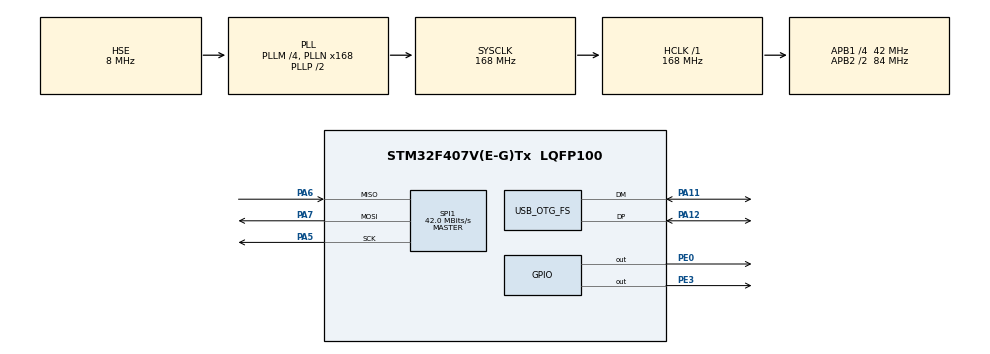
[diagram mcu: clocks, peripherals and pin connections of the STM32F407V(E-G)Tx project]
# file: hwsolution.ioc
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Mcu.Family=STM32F4
Mcu.Name=STM32F407V(E-G)Tx
Mcu.Package=LQFP100
NVIC.OTG_FS_IRQn=true\:0\:0\:false\:false\:true\:false\:true\:true
NVIC.PriorityGroup=NVIC_PRIORITYGROUP_4
PA11.Mode=Device_Only
PA11.Signal=USB_OTG_FS_DM
PA12.Mode=Device_Only
PA12.Signal=USB_OTG_FS_DP
PA13.Mode=Trace_Asynchronous_SW
PA13.Signal=SYS_JTMS-SWDIO
PA14.Mode=Trace_Asynchronous_SW
PA14.Signal=SYS_JTCK-SWCLK
PA5.Mode=Full_Duplex_Master
PA5.Signal=SPI1_SCK
PA6.Mode=Full_Duplex_Master
PA6.Signal=SPI1_MISO
PA7.Mode=Full_Duplex_Master
PA7.Signal=SPI1_MOSI
PB3.Mode=Trace_Asynchronous_SW
PB3.Signal=SYS_JTDO-SWO
PE0.Signal=GPIO_Output
PE3.Signal=GPIO_Output
PH0-OSC_IN.Mode=HSE-External-Oscillator
PH0-OSC_IN.Signal=RCC_OSC_IN
PH1-OSC_OUT.Mode=HSE-External-Oscillator
PH1-OSC_OUT.Signal=RCC_OSC_OUT
ProjectManager.HeapSize=0x200
ProjectManager.StackSize=0x400
ProjectManager.TargetToolchain=STM32CubeIDE
RCC.48MHZClocksFreq_Value=48000000
RCC.AHBFreq_Value=168000000
RCC.APB1CLKDivider=RCC_HCLK_DIV4
RCC.APB1Freq_Value=42000000
RCC.APB1TimFreq_Value=84000000
RCC.APB2CLKDivider=RCC_HCLK_DIV2
RCC.APB2Freq_Value=84000000
RCC.APB2TimFreq_Value=168000000
RCC.CortexFreq_Value=168000000
RCC.HCLKFreq_Value=168000000
RCC.HSE_VALUE=8000000
RCC.HSI_VALUE=16000000
RCC.LSE_VALUE=32768
RCC.PLLM=4
RCC.PLLN=168
RCC.PLLQ=7
RCC.SYSCLKFreq_VALUE=168000000
RCC.SYSCLKSource=RCC_SYSCLKSOURCE_PLLCLK
RCC.VCOOutputFreq_Value=336000000
SPI1.CalculateBaudRate=42.0 MBits/s
SPI1.Direction=SPI_DIRECTION_2LINES
SPI1.Mode=SPI_MODE_MASTER
SPI1.VirtualType=VM_MASTER
USB_DEVICE.CLASS_NAME_FS=CDC
USB_DEVICE.VirtualMode-CDC_FS=Cdc
USB_DEVICE.VirtualModeFS=Cdc_FS
USB_OTG_FS.VirtualMode=Device_Only
VP_USB_DEVICE_VS_USB_DEVICE_CDC_FS.Mode=CDC_FS
board=custom

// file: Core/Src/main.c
/* USER CODE BEGIN Header */
/**
  ******************************************************************************
  * @file           : main.c
  * @brief          : Main program body
  ******************************************************************************
  * @attention
  *
  * Copyright (c) 2022 STMicroelectronics.
  * All rights reserved.
  *
  * This software is licensed under terms that can be found in the LICENSE file
  * in the root directory of this software component.
  * If no LICENSE file comes with this software, it is provided AS-IS.
  *
  ******************************************************************************
  */
/* USER CODE END Header */
#include "main.h"
#include "usb_device.h"

/* USER CODE BEGIN Includes */
#include "usbd_cdc_if.h"
#include "string.h"
#include "MY_LIS3DSH.h"
#include <stdio.h>
/* USER CODE END Includes */

/* USER CODE BEGIN PTD */
uint8_t *sendbuffer="Hello world\n";
LIS3DSH_InitTypeDef myAccConfigDef;
/* USER CODE END PTD */

 SPI_HandleTypeDef hspi1;

void SystemClock_Config(void);
static void MX_GPIO_Init(void);
static void MX_SPI1_Init(void);

/* USER CODE BEGIN 0 */
    char *comma = ",";
	char *end = " \n";
	char *message[500] = {};
    char * recivebuffer[64];
/* USER CODE END 0 */

int main(void)
{

  /* MCU Configuration--------------------------------------------------------*/

  /* Reset of all peripherals, Initializes the Flash interface and the Systick. */
  HAL_Init();

  /* Configure the system clock */
  SystemClock_Config();

  /* Initialize all configured peripherals */
  MX_GPIO_Init();
  MX_USB_DEVICE_Init();
  MX_SPI1_Init();
  /* USER CODE BEGIN 2 */
    myAccConfigDef.dataRate = LIS3DSH_DATARATE_25;
  	myAccConfigDef.fullScale = LIS3DSH_FULLSCALE_4;
  	myAccConfigDef.antiAliasingBW = LIS3DSH_FILTER_BW_50;//update rate
  	myAccConfigDef.enableAxes = LIS3DSH_XYZ_ENABLE;
  	myAccConfigDef.interruptEnable = false;
  	LIS3DSH_Init(&hspi1, &myAccConfigDef);
  	LIS3DSH_DataScaled myscaledata;
  /* USER CODE END 2 */

  /* Infinite loop */
  /* USER CODE BEGIN WHILE */
  while (1)
  {
	 // CDC_Transmit_FS(sendbuffer, strlen(sendbuffer));
	//  HAL_Delay(100);
	  	 char *ret;
	  ret = strstr(recivebuffer, "9");
	 			  	    if (!ret)
	 			  	    {
	  if (LIS3DSH_PollDRDY(100)==true)
	  {
		myscaledata=LIS3DSH_GetDataScaled();
		//char *bufx[20];

			  //	char *bufy[20];

		//char *bufz[20];
		char buf [40];

	    sprintf(buf ,"%f,%f,%f\n",myscaledata.x,myscaledata.y,myscaledata.z);

				/*memset( bufx, 0, sizeof( bufx));
				memset( bufy, 0, sizeof( bufy));
				memset( bufz, 0, sizeof( bufz));
			  	gcvt(myscaledata.x, 9, bufx);
			  	gcvt(myscaledata.y, 9, bufy);
			  	gcvt(myscaledata.z, 9, bufz);
			  	strcat(message,bufx);
			  	strcat(message,comma);
			  	strcat(message,bufy);
			  	strcat(message,comma);
			  	strcat(message,bufz);
			  	strcat(message,end);*/

			  	CDC_Transmit_FS((uint8_t *) buf, strlen(buf));

			  	  HAL_Delay(300)
			  	;

	  }
    /* USER CODE END WHILE */

	 			  	    }
  }
}

void SystemClock_Config(void)
{
  RCC_OscInitTypeDef RCC_OscInitStruct = {0};
  RCC_ClkInitTypeDef RCC_ClkInitStruct = {0};

  /** Configure the main internal regulator output voltage
  */
  __HAL_RCC_PWR_CLK_ENABLE();
  __HAL_PWR_VOLTAGESCALING_CONFIG(PWR_REGULATOR_VOLTAGE_SCALE1);

  /** Initializes the RCC Oscillators according to the specified parameters
  * in the RCC_OscInitTypeDef structure.
  */
  RCC_OscInitStruct.OscillatorType = RCC_OSCILLATORTYPE_HSE;
  RCC_OscInitStruct.HSEState = RCC_HSE_ON;
  RCC_OscInitStruct.PLL.PLLState = RCC_PLL_ON;
  RCC_OscInitStruct.PLL.PLLSource = RCC_PLLSOURCE_HSE;
  RCC_OscInitStruct.PLL.PLLM = 4;
  RCC_OscInitStruct.PLL.PLLN = 168;
  RCC_OscInitStruct.PLL.PLLP = RCC_PLLP_DIV2;
  RCC_OscInitStruct.PLL.PLLQ = 7;
  if (HAL_RCC_OscConfig(&RCC_OscInitStruct) != HAL_OK)
  {
    Error_Handler();
  }

  /** Initializes the CPU, AHB and APB buses clocks
  */
  RCC_ClkInitStruct.ClockType = RCC_CLOCKTYPE_HCLK|RCC_CLOCKTYPE_SYSCLK
                              |RCC_CLOCKTYPE_PCLK1|RCC_CLOCKTYPE_PCLK2;
  RCC_ClkInitStruct.SYSCLKSource = RCC_SYSCLKSOURCE_PLLCLK;
  RCC_ClkInitStruct.AHBCLKDivider = RCC_SYSCLK_DIV1;
  RCC_ClkInitStruct.APB1CLKDivider = RCC_HCLK_DIV4;
  RCC_ClkInitStruct.APB2CLKDivider = RCC_HCLK_DIV2;

  if (HAL_RCC_ClockConfig(&RCC_ClkInitStruct, FLASH_LATENCY_5) != HAL_OK)
  {
    Error_Handler();
  }
}

static void MX_SPI1_Init(void)
{

  /* SPI1 parameter configuration*/
  hspi1.Instance = SPI1;
  hspi1.Init.Mode = SPI_MODE_MASTER;
  hspi1.Init.Direction = SPI_DIRECTION_2LINES;
  hspi1.Init.DataSize = SPI_DATASIZE_8BIT;
  hspi1.Init.CLKPolarity = SPI_POLARITY_LOW;
  hspi1.Init.CLKPhase = SPI_PHASE_1EDGE;
  hspi1.Init.NSS = SPI_NSS_SOFT;
  hspi1.Init.BaudRatePrescaler = SPI_BAUDRATEPRESCALER_2;
  hspi1.Init.FirstBit = SPI_FIRSTBIT_MSB;
  hspi1.Init.TIMode = SPI_TIMODE_DISABLE;
  hspi1.Init.CRCCalculation = SPI_CRCCALCULATION_DISABLE;
  hspi1.Init.CRCPolynomial = 10;
  if (HAL_SPI_Init(&hspi1) != HAL_OK)
  {
    Error_Handler();
  }

}

static void MX_GPIO_Init(void)
{
  GPIO_InitTypeDef GPIO_InitStruct = {0};

  /* GPIO Ports Clock Enable */
  __HAL_RCC_GPIOE_CLK_ENABLE();
  __HAL_RCC_GPIOH_CLK_ENABLE();
  __HAL_RCC_GPIOA_CLK_ENABLE();
  __HAL_RCC_GPIOB_CLK_ENABLE();

  /*Configure GPIO pin Output Level */
  HAL_GPIO_WritePin(GPIOE, GPIO_PIN_3|GPIO_PIN_0, GPIO_PIN_RESET);

  /*Configure GPIO pins : PE3 PE0 */
  GPIO_InitStruct.Pin = GPIO_PIN_3|GPIO_PIN_0;
  GPIO_InitStruct.Mode = GPIO_MODE_OUTPUT_PP;
  GPIO_InitStruct.Pull = GPIO_NOPULL;
  GPIO_InitStruct.Speed = GPIO_SPEED_FREQ_LOW;
  HAL_GPIO_Init(GPIOE, &GPIO_InitStruct);

}

void Error_Handler(void)
{
  __disable_irq();
  while (1)
  {
  }
}
